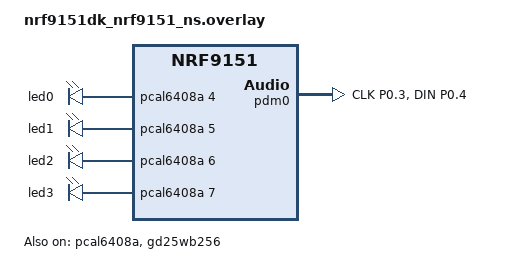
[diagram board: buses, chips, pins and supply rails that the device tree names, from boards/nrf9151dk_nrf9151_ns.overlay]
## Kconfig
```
# Copyright (c) 2024 EdgeImpulse Inc.
#
# Licensed under the Apache License, Version 2.0 (the "License");
# you may not use this file except in compliance with the License.
# You may obtain a copy of the License at
# http://www.apache.org/licenses/LICENSE-2.0
#
# Unless required by applicable law or agreed to in writing,
# software distributed under the License is distributed on an "AS
# IS" BASIS, WITHOUT WARRANTIES OR CONDITIONS OF ANY KIND, either
# express or implied. See the License for the specific language
# governing permissions and limitations under the License.
#
# SPDX-License-Identifier: Apache-2.0

config REMOTE_INGESTION
    bool "Enable remote ingestion"
    default n
    help
      Enable remote ingestion of data to Edge Impulse. This will send data to
      Edge Impulse over a LTE connection. If you disable this, you can still
      use the serial connection and Edge Impulse Serial Daemon to send data.

if REMOTE_INGESTION

module = REMOTE_INGESTION
module-str = Remote Ingestion
source "subsys/logging/Kconfig.template.log_config"

endif

module = EI
module-str = Edge Impulse Firmware
source "subsys/logging/Kconfig.template.log_config"

menu "Zephyr Kernel"
source "Kconfig.zephyr"
endmenu
```

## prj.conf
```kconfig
# /* The Clear BSD License
#  *
#  * Copyright (c) 2025 EdgeImpulse Inc.
#  * All rights reserved.
#  *
#  * Redistribution and use in source and binary forms, with or without
#  * modification, are permitted (subject to the limitations in the disclaimer
#  * below) provided that the following conditions are met:
#  *
#  *   * Redistributions of source code must retain the above copyright notice,
#  *   this list of conditions and the following disclaimer.
#  *
#  *   * Redistributions in binary form must reproduce the above copyright
#  *   notice, this list of conditions and the following disclaimer in the
#  *   documentation and/or other materials provided with the distribution.
#  *
#  *   * Neither the name of the copyright holder nor the names of its
#  *   contributors may be used to endorse or promote products derived from this
#  *   software without specific prior written permission.
#  *
#  * NO EXPRESS OR IMPLIED LICENSES TO ANY PARTY'S PATENT RIGHTS ARE GRANTED BY
#  * THIS LICENSE. THIS SOFTWARE IS PROVIDED BY THE COPYRIGHT HOLDERS AND
#  * CONTRIBUTORS "AS IS" AND ANY EXPRESS OR IMPLIED WARRANTIES, INCLUDING, BUT NOT
#  * LIMITED TO, THE IMPLIED WARRANTIES OF MERCHANTABILITY AND FITNESS FOR A
#  * PARTICULAR PURPOSE ARE DISCLAIMED. IN NO EVENT SHALL THE COPYRIGHT HOLDER OR
#  * CONTRIBUTORS BE LIABLE FOR ANY DIRECT, INDIRECT, INCIDENTAL, SPECIAL,
#  * EXEMPLARY, OR CONSEQUENTIAL DAMAGES (INCLUDING, BUT NOT LIMITED TO,
#  * PROCUREMENT OF SUBSTITUTE GOODS OR SERVICES; LOSS OF USE, DATA, OR PROFITS; OR
#  * BUSINESS INTERRUPTION) HOWEVER CAUSED AND ON ANY THEORY OF LIABILITY, WHETHER
#  * IN CONTRACT, STRICT LIABILITY, OR TORT (INCLUDING NEGLIGENCE OR OTHERWISE)
#  * ARISING IN ANY WAY OUT OF THE USE OF THIS SOFTWARE, EVEN IF ADVISED OF THE
#  * POSSIBILITY OF SUCH DAMAGE.
#  */

# General config
CONFIG_NEWLIB_LIBC=y
CONFIG_NEWLIB_LIBC_NANO=y
CONFIG_NEWLIB_LIBC_FLOAT_PRINTF=y
CONFIG_ASSERT=y
CONFIG_REBOOT=y
CONFIG_FPU=y
CONFIG_CPP=y
CONFIG_GLIBCXX_LIBCPP=y
CONFIG_BOOT_BANNER=n

# Heap and stacks
CONFIG_HEAP_MEM_POOL_SIZE=47250
CONFIG_MAIN_STACK_SIZE=16384
CONFIG_SYSTEM_WORKQUEUE_STACK_SIZE=4096
CONFIG_HW_STACK_PROTECTION=y

# Logging
CONFIG_LOG=y
CONFIG_LOG_MODE_DEFERRED=y
CONFIG_I2S_LOG_LEVEL_OFF=y
CONFIG_CBPRINTF_PACKAGE_LOG_LEVEL_OFF=y
CONFIG_FLASH_LOG_LEVEL_OFF=y
CONFIG_SENSOR_LOG_LEVEL_OFF=y
CONFIG_AUDIO_DMIC_LOG_LEVEL_WRN=y
CONFIG_AUDIO_DMIC_LOG_LEVEL_DBG=n
CONFIG_NCS_BOOT_BANNER=n

# nRF modem library
CONFIG_NRF_MODEM_LIB=y
CONFIG_NRF_MODEM_LIB_ON_FAULT_APPLICATION_SPECIFIC=y

# Modem info
CONFIG_MODEM_INFO=y

# Flash - Used in FOTA, settings and storage for P-GPS.
CONFIG_FLASH=y
CONFIG_FLASH_PAGE_LAYOUT=y
CONFIG_FLASH_MAP=y
CONFIG_STREAM_FLASH=y
CONFIG_MPU_ALLOW_FLASH_WRITE=y
CONFIG_SPI_NOR_FLASH_LAYOUT_PAGE_SIZE=4096

# LEDs
CONFIG_LED=y
CONFIG_GPIO=y
CONFIG_LED_GPIO=y

# Audio/PDM support
CONFIG_I2S=y
CONFIG_AUDIO=y
CONFIG_AUDIO_DMIC=y

# Sensors on X-Nucleo IKS02A1
CONFIG_I2C=y
CONFIG_SENSOR=y

# UART Config
CONFIG_UART_INTERRUPT_DRIVEN=y

CONFIG_DEBUG=y
```

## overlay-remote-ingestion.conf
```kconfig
# Copyright (c) 2024 EdgeImpulse Inc.
#
# Licensed under the Apache License, Version 2.0 (the "License");
# you may not use this file except in compliance with the License.
# You may obtain a copy of the License at
# http://www.apache.org/licenses/LICENSE-2.0
#
# Unless required by applicable law or agreed to in writing,
# software distributed under the License is distributed on an "AS
# IS" BASIS, WITHOUT WARRANTIES OR CONDITIONS OF ANY KIND, either
# express or implied. See the License for the specific language
# governing permissions and limitations under the License.
#
# SPDX-License-Identifier: Apache-2.0

# Edge Impulse Remote Ingestion
CONFIG_REMOTE_INGESTION=y
CONFIG_REMOTE_INGESTION_LOG_LEVEL_WRN=y

# nRF modem library
CONFIG_NRF_MODEM_LIB_SHMEM_TX_SIZE=22528
CONFIG_NRF_MODEM_LIB_SHMEM_RX_SIZE=8192

# LTE link control
CONFIG_LTE_NETWORK_MODE_LTE_M_GPS=y
## Power saving timers.
### 320 hours PSM.
CONFIG_LTE_PSM_REQ=y
CONFIG_LTE_PSM_REQ_RPTAU="11000001"
### 20 seconds active time.
CONFIG_LTE_PSM_REQ_RAT="00001010"
CONFIG_LTE_LINK_CONTROL=y
CONFIG_LTE_MODE_PREFERENCE_AUTO=y
CONFIG_LTE_NETWORK_USE_FALLBACK=n
CONFIG_LTE_NETWORK_TIMEOUT=30

# PDN library
CONFIG_PDN=y
CONFIG_PDN_ESM_STRERROR=y

# TLS configuration
CONFIG_MBEDTLS_SHA1_C=y

# Networking config
CONFIG_NETWORKING=y
CONFIG_NET_IPV4=y
CONFIG_NET_IPV6=n
CONFIG_NET_TCP=y
CONFIG_NET_SOCKETS=y
CONFIG_NET_SOCKETS_POLL_MAX=4

# HTTP & Websocket
CONFIG_HTTP_CLIENT=y
CONFIG_WEBSOCKET_CLIENT=y
```

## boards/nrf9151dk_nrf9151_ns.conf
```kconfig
# Copyright (c) 2024 EdgeImpulse Inc.
#
# Licensed under the Apache License, Version 2.0 (the "License");
# you may not use this file except in compliance with the License.
# You may obtain a copy of the License at
# http://www.apache.org/licenses/LICENSE-2.0
#
# Unless required by applicable law or agreed to in writing,
# software distributed under the License is distributed on an "AS
# IS" BASIS, WITHOUT WARRANTIES OR CONDITIONS OF ANY KIND, either
# express or implied. See the License for the specific language
# governing permissions and limitations under the License.
#
# SPDX-License-Identifier: Apache-2.0

# This file is merged with prj.conf in the application folder, and options
# set here will take precedence if they are present in both files.

CONFIG_GPIO=y
CONFIG_LED_GPIO=y

CONFIG_SPI=y
CONFIG_SPI_NOR=y
CONFIG_SPI_NOR_SFDP_DEVICETREE=y
CONFIG_PM_OVERRIDE_EXTERNAL_DRIVER_CHECK=y
```

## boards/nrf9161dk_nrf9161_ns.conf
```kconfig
# /* The Clear BSD License
#  *
#  * Copyright (c) 2025 EdgeImpulse Inc.
#  * All rights reserved.
#  *
#  * Redistribution and use in source and binary forms, with or without
#  * modification, are permitted (subject to the limitations in the disclaimer
#  * below) provided that the following conditions are met:
#  *
#  *   * Redistributions of source code must retain the above copyright notice,
#  *   this list of conditions and the following disclaimer.
#  *
#  *   * Redistributions in binary form must reproduce the above copyright
#  *   notice, this list of conditions and the following disclaimer in the
#  *   documentation and/or other materials provided with the distribution.
#  *
#  *   * Neither the name of the copyright holder nor the names of its
#  *   contributors may be used to endorse or promote products derived from this
#  *   software without specific prior written permission.
#  *
#  * NO EXPRESS OR IMPLIED LICENSES TO ANY PARTY'S PATENT RIGHTS ARE GRANTED BY
#  * THIS LICENSE. THIS SOFTWARE IS PROVIDED BY THE COPYRIGHT HOLDERS AND
#  * CONTRIBUTORS "AS IS" AND ANY EXPRESS OR IMPLIED WARRANTIES, INCLUDING, BUT NOT
#  * LIMITED TO, THE IMPLIED WARRANTIES OF MERCHANTABILITY AND FITNESS FOR A
#  * PARTICULAR PURPOSE ARE DISCLAIMED. IN NO EVENT SHALL THE COPYRIGHT HOLDER OR
#  * CONTRIBUTORS BE LIABLE FOR ANY DIRECT, INDIRECT, INCIDENTAL, SPECIAL,
#  * EXEMPLARY, OR CONSEQUENTIAL DAMAGES (INCLUDING, BUT NOT LIMITED TO,
#  * PROCUREMENT OF SUBSTITUTE GOODS OR SERVICES; LOSS OF USE, DATA, OR PROFITS; OR
#  * BUSINESS INTERRUPTION) HOWEVER CAUSED AND ON ANY THEORY OF LIABILITY, WHETHER
#  * IN CONTRACT, STRICT LIABILITY, OR TORT (INCLUDING NEGLIGENCE OR OTHERWISE)
#  * ARISING IN ANY WAY OUT OF THE USE OF THIS SOFTWARE, EVEN IF ADVISED OF THE
#  * POSSIBILITY OF SUCH DAMAGE.
#  */

CONFIG_GPIO=y
CONFIG_LED_GPIO=y

CONFIG_SPI=y
CONFIG_SPI_NOR=y
CONFIG_SPI_NOR_SFDP_DEVICETREE=y
CONFIG_PM_OVERRIDE_EXTERNAL_DRIVER_CHECK=y
```

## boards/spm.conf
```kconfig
# Copyright (c) 2024 EdgeImpulse Inc.
#
# Licensed under the Apache License, Version 2.0 (the "License");
# you may not use this file except in compliance with the License.
# You may obtain a copy of the License at
# http://www.apache.org/licenses/LICENSE-2.0
#
# Unless required by applicable law or agreed to in writing,
# software distributed under the License is distributed on an "AS
# IS" BASIS, WITHOUT WARRANTIES OR CONDITIONS OF ANY KIND, either
# express or implied. See the License for the specific language
# governing permissions and limitations under the License.
#
# SPDX-License-Identifier: Apache-2.0

CONFIG_IS_SPM=y

# Make watchdog timers non-secure (so they can be used in the non-secure image).
CONFIG_NRFX_PDM=y
```

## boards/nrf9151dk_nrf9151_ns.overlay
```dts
/* The Clear BSD License
 *
 * Copyright (c) 2025 EdgeImpulse Inc.
 * All rights reserved.
 *
 * Redistribution and use in source and binary forms, with or without
 * modification, are permitted (subject to the limitations in the disclaimer
 * below) provided that the following conditions are met:
 *
 *   * Redistributions of source code must retain the above copyright notice,
 *   this list of conditions and the following disclaimer.
 *
 *   * Redistributions in binary form must reproduce the above copyright
 *   notice, this list of conditions and the following disclaimer in the
 *   documentation and/or other materials provided with the distribution.
 *
 *   * Neither the name of the copyright holder nor the names of its
 *   contributors may be used to endorse or promote products derived from this
 *   software without specific prior written permission.
 *
 * NO EXPRESS OR IMPLIED LICENSES TO ANY PARTY'S PATENT RIGHTS ARE GRANTED BY
 * THIS LICENSE. THIS SOFTWARE IS PROVIDED BY THE COPYRIGHT HOLDERS AND
 * CONTRIBUTORS "AS IS" AND ANY EXPRESS OR IMPLIED WARRANTIES, INCLUDING, BUT NOT
 * LIMITED TO, THE IMPLIED WARRANTIES OF MERCHANTABILITY AND FITNESS FOR A
 * PARTICULAR PURPOSE ARE DISCLAIMED. IN NO EVENT SHALL THE COPYRIGHT HOLDER OR
 * CONTRIBUTORS BE LIABLE FOR ANY DIRECT, INDIRECT, INCIDENTAL, SPECIAL,
 * EXEMPLARY, OR CONSEQUENTIAL DAMAGES (INCLUDING, BUT NOT LIMITED TO,
 * PROCUREMENT OF SUBSTITUTE GOODS OR SERVICES; LOSS OF USE, DATA, OR PROFITS; OR
 * BUSINESS INTERRUPTION) HOWEVER CAUSED AND ON ANY THEORY OF LIABILITY, WHETHER
 * IN CONTRACT, STRICT LIABILITY, OR TORT (INCLUDING NEGLIGENCE OR OTHERWISE)
 * ARISING IN ANY WAY OUT OF THE USE OF THIS SOFTWARE, EVEN IF ADVISED OF THE
 * POSSIBILITY OF SUCH DAMAGE.
 */

/ {

	/* Configure partition manager to use gd25wb256 as the external flash */
	chosen {
		nordic,pm-ext-flash = &gd25wb256;
	};

	aliases {
		ext-flash = &gd25wb256;
	};
};

&pcal6408a {
	status = "okay";
};

&led0 {
	gpios = <&pcal6408a 4 GPIO_ACTIVE_HIGH>;
};

&led1 {
	gpios = <&pcal6408a 5 GPIO_ACTIVE_HIGH>;
};

&led2 {
	gpios = <&pcal6408a 6 GPIO_ACTIVE_HIGH>;
};

&led3 {
	gpios = <&pcal6408a 7 GPIO_ACTIVE_HIGH>;
};

&gd25wb256 {
	status = "okay";
};

&pinctrl {
	pdm0_default: pdm0_default {
		group1 {
			psels = <NRF_PSEL(PDM_CLK, 0, 3)>,
					<NRF_PSEL(PDM_DIN, 0, 4)>;
		};
	};
};

dmic_dev: &pdm0 {
	status = "okay";
	pinctrl-0 = <&pdm0_default>;
	pinctrl-names = "default";
};
```

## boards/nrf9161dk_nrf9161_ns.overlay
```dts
/*
 * Copyright (c) 2022 EdgeImpulse Inc.
 *
 * Licensed under the Apache License, Version 2.0 (the "License");
 * you may not use this file except in compliance with the License.
 * You may obtain a copy of the License at
 * http://www.apache.org/licenses/LICENSE-2.0
 *
 * Unless required by applicable law or agreed to in writing,
 * software distributed under the License is distributed on an "AS
 * IS" BASIS, WITHOUT WARRANTIES OR CONDITIONS OF ANY KIND, either
 * express or implied. See the License for the specific language
 * governing permissions and limitations under the License.
 *
 * SPDX-License-Identifier: Apache-2.0
 */

/ {

	/* Configure partition manager to use gd25wb256 as the external flash */
	chosen {
		nordic,pm-ext-flash = &gd25wb256;
	};

	aliases {
		ext-flash = &gd25wb256;
	};
};

&pcal6408a {
	status = "okay";
};

&led0 {
	gpios = <&pcal6408a 4 GPIO_ACTIVE_HIGH>;
};

&led1 {
	gpios = <&pcal6408a 5 GPIO_ACTIVE_HIGH>;
};

&led2 {
	gpios = <&pcal6408a 6 GPIO_ACTIVE_HIGH>;
};

&led3 {
	gpios = <&pcal6408a 7 GPIO_ACTIVE_HIGH>;
};

&gd25wb256 {
	status = "okay";
};

&pinctrl {
	pdm0_default: pdm0_default {
		group1 {
			psels = <NRF_PSEL(PDM_CLK, 0, 3)>,
					<NRF_PSEL(PDM_DIN, 0, 4)>;
		};
	};
};

dmic_dev: &pdm0 {
	status = "okay";
	pinctrl-0 = <&pdm0_default>;
	pinctrl-names = "default";
};
```

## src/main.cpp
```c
/* The Clear BSD License
 *
 * Copyright (c) 2025 EdgeImpulse Inc.
 * All rights reserved.
 *
 * Redistribution and use in source and binary forms, with or without
 * modification, are permitted (subject to the limitations in the disclaimer
 * below) provided that the following conditions are met:
 *
 *   * Redistributions of source code must retain the above copyright notice,
 *   this list of conditions and the following disclaimer.
 *
 *   * Redistributions in binary form must reproduce the above copyright
 *   notice, this list of conditions and the following disclaimer in the
 *   documentation and/or other materials provided with the distribution.
 *
 *   * Neither the name of the copyright holder nor the names of its
 *   contributors may be used to endorse or promote products derived from this
 *   software without specific prior written permission.
 *
 * NO EXPRESS OR IMPLIED LICENSES TO ANY PARTY'S PATENT RIGHTS ARE GRANTED BY
 * THIS LICENSE. THIS SOFTWARE IS PROVIDED BY THE COPYRIGHT HOLDERS AND
 * CONTRIBUTORS "AS IS" AND ANY EXPRESS OR IMPLIED WARRANTIES, INCLUDING, BUT NOT
 * LIMITED TO, THE IMPLIED WARRANTIES OF MERCHANTABILITY AND FITNESS FOR A
 * PARTICULAR PURPOSE ARE DISCLAIMED. IN NO EVENT SHALL THE COPYRIGHT HOLDER OR
 * CONTRIBUTORS BE LIABLE FOR ANY DIRECT, INDIRECT, INCIDENTAL, SPECIAL,
 * EXEMPLARY, OR CONSEQUENTIAL DAMAGES (INCLUDING, BUT NOT LIMITED TO,
 * PROCUREMENT OF SUBSTITUTE GOODS OR SERVICES; LOSS OF USE, DATA, OR PROFITS; OR
 * BUSINESS INTERRUPTION) HOWEVER CAUSED AND ON ANY THEORY OF LIABILITY, WHETHER
 * IN CONTRACT, STRICT LIABILITY, OR TORT (INCLUDING NEGLIGENCE OR OTHERWISE)
 * ARISING IN ANY WAY OUT OF THE USE OF THIS SOFTWARE, EVEN IF ADVISED OF THE
 * POSSIBILITY OF SUCH DAMAGE.
 */

#include <zephyr/logging/log.h>
LOG_MODULE_REGISTER(main, CONFIG_EI_LOG_LEVEL);

#include <zephyr/kernel.h>
#include <modem/nrf_modem_lib.h>
#include <zephyr/drivers/uart.h>
#include <modem/lte_lc.h>
#include <modem/pdn.h>
#include "edge-impulse-sdk/porting/ei_classifier_porting.h"
#include "ei_device_nrf91.h"
#include "ei_at_handlers.h"
#include "ei_ws_client.h"
#include "inference/ei_run_impulse.h"
#include "sensors/ei_accelerometer.h"
#include "sensors/ei_inertial.h"
#include "sensors/ei_magnetometer.h"
#include "sensors/ei_microphone.h"

const struct device *uart;

void ei_putchar(char c)
{
    // it is ~30% faster than printf
    uart_poll_out(uart, c);
}

void nrf_modem_fault_handler(struct nrf_modem_fault_info *fault_info)
{
	LOG_ERR("Modem error: 0x%x, PC: 0x%x", fault_info->reason, fault_info->program_counter);
}

#ifdef CONFIG_REMOTE_INGESTION
void pdn_event_handler(uint8_t cid, enum pdn_event event, int reason)
{
	switch (event) {
	case PDN_EVENT_CNEC_ESM:
		LOG_DBG("PDP context %d error, %s", cid, pdn_esm_strerror(reason));
		break;
	case PDN_EVENT_ACTIVATED:
		LOG_DBG("PDP context %d activated", cid);
		break;
	case PDN_EVENT_DEACTIVATED:
		LOG_DBG("PDP context %d deactivated", cid);
		break;
	case PDN_EVENT_NETWORK_DETACH:
		LOG_DBG("PDP context %d network detached", cid);
		break;
	case PDN_EVENT_IPV6_UP:
		LOG_DBG("PDP context %d IPv6 up", cid);
		break;
	case PDN_EVENT_IPV6_DOWN:
		LOG_DBG("PDP context %d IPv6 down", cid);
		break;
	default:
		LOG_DBG("PDP context %d, unknown event %d", cid, event);
		break;
	}
}

bool modem_connect(void)
{
	int ret;

	LOG_DBG("Modem Lib init...");
	ret = nrf_modem_lib_init();
	if (ret < 0) {
		LOG_ERR("Unable to init modem library (%d)", ret);
		return false;
	}
	LOG_DBG("Modem Lib init... OK");

	/* Setup a callback for the default PDP context (zero).
	 * Do this before switching to function mode 1 (CFUN=1)
	 * to receive the first activation event.
	 */
	LOG_DBG("PDN context init...");
	ret = pdn_default_ctx_cb_reg(pdn_event_handler);
	if (ret) {
		LOG_ERR("pdn_default_ctx_cb_reg() failed, err %d", ret);
		return false;
	}
	LOG_DBG("PDN context init... OK");

	LOG_DBG("Waiting for network...");
	ret = lte_lc_init_and_connect();
	if (ret) {
		LOG_ERR("Failed to connect to the LTE network, err %d", ret);
		return false;
	}
	LOG_DBG("Waiting for network... OK");

	return true;
}
#endif

int main(void)
{
    char rcv_char;
    ATServer *at;

    /* This is needed so that output of printf
       is output immediately without buffering
    */
    setvbuf(stdout, NULL, _IONBF, 0);

    uart = DEVICE_DT_GET(DT_CHOSEN(zephyr_shell_uart));
    if (!device_is_ready(uart)) {
		LOG_ERR("%s: device not ready\n", uart->name);
	}

    EiDeviceNRF91* dev = static_cast<EiDeviceNRF91*>(EiDeviceInfo::get_device());

#ifdef CONFIG_REMOTE_INGESTION
	if(!modem_connect()) {
		LOG_ERR("Modem connection failed!");
	}
	else {
    	ei_ws_client_start(dev, at_sample_start);
	}
#else
	// we need modem library to get IMEI and obtain unique device ID
	int ret = nrf_modem_lib_init();
	if (ret < 0) {
		LOG_ERR("Unable to init modem library (%d)", ret);
	}
#endif

	// based on accelerometer presence we can see if the shield is present,
	// and know if the microphone is present since it cannot be detected by the driver SDK
    dev->set_microphone_present(ei_accelerometer_init());
    ei_inertial_init();
    ei_magnetometer_init();
    ei_microphone_init();
	dev->set_sensor_list(EiDeviceInfo::get_device()->get_memory());

    dev->set_state(eiStateFinished);

    // Init AT Server and print initial prompt
    at = ei_at_init(dev);
    ei_printf("Type AT+HELP to see a list of commands.\r\n");
    at->print_prompt();

    while(true) {
        while(uart_fifo_read(uart, (uint8_t*)&rcv_char, 1) == 1) {
            if(is_inference_running() && rcv_char == 'b') {
                ei_stop_impulse();
                at->print_prompt();
                continue;
            }
            at->handle(rcv_char);
        }
        if(is_inference_running() == true) {
            ei_run_impulse();
        }
        k_sleep(K_USEC(100));
    }

    return 0;
}
```

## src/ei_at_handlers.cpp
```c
/*
 * Copyright (c) 2024 EdgeImpulse Inc.
 *
 * Licensed under the Apache License, Version 2.0 (the "License");
 * you may not use this file except in compliance with the License.
 * You may obtain a copy of the License at
 * http://www.apache.org/licenses/LICENSE-2.0
 *
 * Unless required by applicable law or agreed to in writing,
 * software distributed under the License is distributed on an "AS
 * IS" BASIS, WITHOUT WARRANTIES OR CONDITIONS OF ANY KIND, either
 * express or implied. See the License for the specific language
 * governing permissions and limitations under the License.
 *
 * SPDX-License-Identifier: Apache-2.0
 */

#include "ei_at_handlers.h"
#include "ei_device_nrf91.h"
#include "ei_ws_client.h"
#include "edge-impulse-sdk/porting/ei_classifier_porting.h"
#include "firmware-sdk/ei_fusion.h"
#include "firmware-sdk/at-server/ei_at_command_set.h"
#include "firmware-sdk/at_base64_lib.h"
#include "firmware-sdk/ei_device_lib.h"
#include "firmware-sdk/ei_device_interface.h"
#include "inference/ei_run_impulse.h"
#include "model-parameters/model_metadata.h"
#include <string>
using namespace std;

#define TRANSFER_BUF_LEN 32

// Helper functions

void at_error_not_implemented()
{
    ei_printf("Command not implemented\r\n");
}

inline bool check_args_num(const int &required, const int &received)
{
    if (received < required) {
        ei_printf("Too few arguments! Required: %d\n", required);
        return false;
    }

    return true;
}

EiDeviceNRF91 *dev;

bool at_get_device_id(void)
{
    ei_printf("%s\n", dev->get_device_id().c_str());

    return true;
}

bool at_set_device_id(const char **argv, const int argc)
{
    if(argc < 1) {
        ei_printf("Missing argument!\n");
        return true;
    }

    dev->set_device_id(argv[0]);

    ei_printf("OK\n");

    return true;
}

bool at_get_upload_host(void)
{
    ei_printf("%s\n", dev->get_upload_host().c_str());

    return true;
}

bool at_set_upload_host(const char **argv, const int argc)
{
    if(argc < 1) {
        ei_printf("Missing argument!\n");
        return true;
    }

    dev->set_upload_host(argv[0]);

    ei_printf("OK\n");

    return true;
}

bool at_get_upload_settings(void)
{
    ei_printf("Api Key:   %s\n", dev->get_upload_api_key().c_str());
    ei_printf("Host:      %s\n", dev->get_upload_host().c_str());
    ei_printf("Path:      %s\n", dev->get_upload_path().c_str());

    return true;
}

bool at_set_upload_settings(const char **argv, const int argc)
{
    if(argc < 2) {
        ei_printf("Missing argument! Required: " AT_UPLOADSETTINGS_ARGS "\n");
        return true;
    }

    //TODO: can we set these values to ""?
    dev->set_upload_api_key(argv[0]);
    dev->set_upload_path(argv[1]);

    ei_printf("OK\n");

    return true;
}

bool at_get_mgmt_url(void)
{
    ei_printf("%s\n", dev->get_management_url().c_str());

    return true;
}

bool at_set_mgmt_url(const char **argv, const int argc)
{
    if(argc < 1) {
        ei_printf("Missing argument!\n");
        return true;
    }

    dev->set_management_url(argv[0]);

    ei_printf("OK\n");

    return true;
}

bool at_get_sample_settings(void)
{
    ei_printf("Label:     %s\n", dev->get_sample_label().c_str());
    ei_printf("Interval:  %.2f ms.\n", dev->get_sample_interval_ms());
    ei_printf("Length:    %u ms.\n", dev->get_sample_length_ms());
    ei_printf("HMAC key:  %s\n", dev->get_sample_hmac_key().c_str());

    return true;
}

bool at_set_sample_settings(const char **argv, const int argc)
{
    if(argc < 3) {
        ei_printf("Missing argument! Required: " AT_SAMPLESETTINGS_ARGS "\n");
        return true;
    }

    dev->set_sample_label(argv[0]);

    //TODO: sanity check and/or exception handling
    string interval_ms_str(argv[1]);
    dev->set_sample_interval_ms(stof(interval_ms_str));

    //TODO: sanity check and/or exception handling
    string sample_length_str(argv[2]);
    dev->set_sample_length_ms(stoi(sample_length_str));

    if(argc >= 4) {
        dev->set_sample_hmac_key(argv[3]);
    }

    ei_printf("OK\n");

    return true;
}

bool at_clear_config(void)
{
    dev->clear_config();
    dev->init_device_id();

    return true;
}

bool at_unlink_file(const char **argv, const int argc)
{
    ei_printf("\n");

    return true;
}

bool at_read_buffer(const char **argv, const int argc)
{
    if(argc < 2) {
        ei_printf("Missing argument! Required: " AT_READBUFFER_ARGS "\n");
        return true;
    }
    bool success = true;

    size_t start = (size_t)atoi(argv[0]);
    size_t length = (size_t)atoi(argv[1]);

    dev->set_state(eiStateUploading);

    bool use_max_baudrate = false;
    if (argc >= 3 && argv[2][0] == 'y') {
       use_max_baudrate = true;
    }

    if (use_max_baudrate) {
        ei_printf("OK\r\n");
        dev->set_max_data_output_baudrate();
        ei_sleep(100);
    }

    success = read_encode_send_sample_buffer(start, length);

    if (use_max_baudrate) {
        ei_printf("\r\nOK\r\n");
        ei_sleep(100);
        dev->set_default_data_output_baudrate();
    }

    if (!success) {
        ei_printf("ERR: Failed to read from buffer\n");
        dev->set_state(eiStateIdle);
    }
    else {
        ei_printf("\n");
        dev->set_state(eiStateFinished);
    }

    return true;
}

bool at_sample_start(const char **argv, const int argc)
{
    if(argc < 1) {
        ei_printf("Missing sensor name!\n");
        return true;
    }

    const ei_device_sensor_t *sensor_list;
    size_t sensor_list_size;

    dev->get_sensor_list((const ei_device_sensor_t **)&sensor_list, &sensor_list_size);

    for (size_t ix = 0; ix < sensor_list_size; ix++) {
        if (strcmp(sensor_list[ix].name, argv[0]) == 0) {
            if (!sensor_list[ix].start_sampling_cb()) {
                ei_printf("ERR: Failed to start sampling\n");
                dev->set_state(eiStateIdle);
            }
            else {
                dev->set_state(eiStateFinished);
            }
            return true;
        }
    }

    if (ei_connect_fusion_list(argv[0], SENSOR_FORMAT)) {
        if (!ei_fusion_setup_data_sampling()) {
            ei_printf("ERR: Failed to start sensor fusion sampling\n");
            dev->set_state(eiStateIdle);
        }
        else {
            dev->set_state(eiStateFinished);
        }
    }
    else {
        ei_printf("ERR: Failed to find sensor '%s' in the sensor list\n", argv[0]);
    }


    return true;
}

bool at_run_impulse(void)
{
    ei_start_impulse(false, false, false);

    return false;
}

bool at_run_impulse_debug(const char **argv, const int argc)
{
    bool use_max_uart_speed = false;
    if(argc > 0 && argv[0][0] == 'y') {
        use_max_uart_speed = true;
    }

    ei_start_impulse(false, true, use_max_uart_speed);

    return false;
}

bool at_run_impulse_cont(void)
{
    ei_start_impulse(true, false, false);

    return false;
}

bool at_run_impulse_static_data(const char **argv, const int argc)
{

    if (check_args_num(2, argc) == false) {
        return false;
    }

    bool debug = (argv[0][0] == 'y');
    size_t length = (size_t)atoi(argv[1]);

    bool res = run_impulse_static_data(debug, length, TRANSFER_BUF_LEN);

    return res;
}

bool at_stop_impulse(void)
{
    ei_stop_impulse();

    return true;
}

bool at_get_config(void)
{
    const ei_device_sensor_t *sensor_list;
    size_t sensor_list_size;

    dev->get_sensor_list((const ei_device_sensor_t **)&sensor_list, &sensor_list_size);

    ei_printf("===== Device info =====\n");
    ei_printf("ID:         %s\n", dev->get_device_id().c_str());
    ei_printf("Type:       %s\n", dev->get_device_type().c_str());
    ei_printf("AT Version: " AT_COMMAND_VERSION "\n");
    ei_printf("Data Transfer Baudrate: %u\n", dev->get_data_output_baudrate());
    ei_printf("\n");
    ei_printf("===== Sensors ======\n");
    //TODO: move it to Sensor Manager
    for (size_t ix = 0; ix < sensor_list_size; ix++) {
        ei_printf("Name: %s, Max sample length: %hus, Frequencies: [", sensor_list[ix].name, sensor_list[ix].max_sample_length_s);
        for (size_t fx = 0; fx < EI_MAX_FREQUENCIES; fx++) {
            if (sensor_list[ix].frequencies[fx] != 0.0f) {
                if (fx != 0) {
                    ei_printf(", ");
                }
                ei_printf("%.2fHz", sensor_list[ix].frequencies[fx]);
            }
        }
        ei_printf("]\n");
    }
    ei_built_sensor_fusion_list();
    ei_printf("\n");
    ei_printf("===== Snapshot ======\n");
    // at_get_snapshot();
    ei_printf("\n");
    ei_printf("===== Inference ======\n");
    ei_printf("Sensor:           %d\r\n", EI_CLASSIFIER_SENSOR);
#if EI_CLASSIFIER_OBJECT_DETECTION
    #if EI_CLASSIFIER_OBJECT_DETECTION_LAST_LAYER == EI_CLASSIFIER_LAST_LAYER_FOMO
        const char *model_type = "constrained_object_detection";
    #else
        const char *model_type = "object_detection";
    #endif
#else
    const char *model_type = "classification";
#endif
    ei_printf("Model type:       %s\r\n", model_type);
    ei_printf("\n");
    ei_printf("===== WIFI =====\n");
    ei_printf("SSID:      \n");
    ei_printf("Password:  \n");
    ei_printf("Security:  0\n");
    ei_printf("MAC:       %s\n", dev->get_mac_address().c_str());
    ei_printf("Connected: 0\n");
    ei_printf("Present:   0\n");
    ei_printf("\n");
    ei_printf("===== Sampling parameters =====\n");
    ei_printf("Label:     %s\n", dev->get_sample_label().c_str());
    ei_printf("Interval:  %.2f ms.\n", dev->get_sample_interval_ms());
    ei_printf("Length:    %u ms.\n", dev->get_sample_length_ms());
    ei_printf("HMAC key:  %s\n", dev->get_sample_hmac_key().c_str());
    ei_printf("\n");
    ei_printf("===== Upload settings =====\n");
    ei_printf("Api Key:   %s\n", dev->get_upload_api_key().c_str());
    ei_printf("Host:      %s\n", dev->get_upload_host().c_str());
    ei_printf("Path:      %s\n", dev->get_upload_path().c_str());
    ei_printf("\n");
    ei_printf("===== Remote management =====\n");
    ei_printf("URL:        %s\n", dev->get_management_url().c_str());
#ifdef CONFIG_REMOTE_INGESTION
    ei_printf("Connected:  %u\n", ei_ws_get_connection_status());
#else
    ei_printf("Connected:  0\n");
#endif
    ei_printf("Last error: \n");
    ei_printf("\n");

    return true;
}

ATServer *ei_at_init(EiDeviceNRF91 *device)
{
    ATServer *at;
    dev = device;

    at = ATServer::get_instance();

    at->register_command(AT_CONFIG, AT_CONFIG_HELP_TEXT, nullptr, at_get_config, nullptr, nullptr);
    at->register_command(AT_SAMPLESTART, AT_SAMPLESTART_HELP_TEXT, nullptr, nullptr, at_sample_start, AT_SAMPLESTART_ARGS);
    at->register_command(AT_READBUFFER, AT_READBUFFER_HELP_TEXT, nullptr, nullptr, at_read_buffer, AT_READBUFFER_ARGS);
    at->register_command(AT_MGMTSETTINGS, AT_MGMTSETTINGS_HELP_TEXT, nullptr, at_get_mgmt_url, at_set_mgmt_url, AT_MGMTSETTINGS_ARGS);
    at->register_command(AT_CLEARCONFIG, AT_CLEARCONFIG_HELP_TEXT, at_clear_config, nullptr, nullptr, nullptr);
    at->register_command(AT_DEVICEID, AT_DEVICEID_HELP_TEXT, nullptr, at_get_device_id, at_set_device_id, AT_DEVICEID_ARGS);
    at->register_command(AT_SAMPLESETTINGS, AT_SAMPLESETTINGS_HELP_TEXT, nullptr, at_get_sample_settings, at_set_sample_settings, AT_SAMPLESETTINGS_ARGS);
    at->register_command(AT_UPLOADSETTINGS, AT_UPLOADSETTINGS_HELP_TEXT, nullptr, at_get_upload_settings, at_set_upload_settings, AT_UPLOADSETTINGS_ARGS);
    at->register_command(AT_UPLOADHOST, AT_UPLOADHOST_HELP_TEXT, nullptr, at_get_upload_host, at_set_upload_host, AT_UPLOADHOST_ARGS);
    at->register_command(AT_UNLINKFILE, AT_UNLINKFILE_HELP_TEXT, nullptr, nullptr, at_unlink_file, AT_UNLINKFILE_ARGS);
    at->register_command(AT_RUNIMPULSE, AT_RUNIMPULSE_HELP_TEXT, at_run_impulse, nullptr, nullptr, nullptr);
    at->register_command(AT_RUNIMPULSEDEBUG, AT_RUNIMPULSEDEBUG_HELP_TEXT, nullptr, nullptr, at_run_impulse_debug, AT_RUNIMPULSEDEBUG_ARGS);
    at->register_command(AT_RUNIMPULSECONT, AT_RUNIMPULSECONT_HELP_TEXT, at_run_impulse_cont, nullptr, nullptr, nullptr);
    at->register_command(AT_RUNIMPULSESTATIC, AT_RUNIMPULSESTATIC_HELP_TEXT, nullptr, nullptr, at_run_impulse_static_data, AT_RUNIMPULSESTATIC_ARGS);
    at->register_command("STOPIMPULSE", "", at_stop_impulse, nullptr, nullptr, nullptr);

    return at;
}
```

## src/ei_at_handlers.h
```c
/*
 * Copyright (c) 2024 EdgeImpulse Inc.
 *
 * Licensed under the Apache License, Version 2.0 (the "License");
 * you may not use this file except in compliance with the License.
 * You may obtain a copy of the License at
 * http://www.apache.org/licenses/LICENSE-2.0
 *
 * Unless required by applicable law or agreed to in writing,
 * software distributed under the License is distributed on an "AS
 * IS" BASIS, WITHOUT WARRANTIES OR CONDITIONS OF ANY KIND, either
 * express or implied. See the License for the specific language
 * governing permissions and limitations under the License.
 *
 * SPDX-License-Identifier: Apache-2.0
 */

#ifndef EI_AT_HANDLERS_H
#define EI_AT_HANDLERS_H
#include "firmware-sdk/at-server/ei_at_server.h"
#include "ei_device_nrf91.h"

ATServer *ei_at_init(EiDeviceNRF91 *device);

// expose this handler, so EI WebSocket client can use the same handler to start sample acquisition
bool at_sample_start(const char **argv, const int argc);

#endif /* EI_AT_HANDLERS_H */
```

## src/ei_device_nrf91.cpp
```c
/* The Clear BSD License
 *
 * Copyright (c) 2025 EdgeImpulse Inc.
 * All rights reserved.
 *
 * Redistribution and use in source and binary forms, with or without
 * modification, are permitted (subject to the limitations in the disclaimer
 * below) provided that the following conditions are met:
 *
 *   * Redistributions of source code must retain the above copyright notice,
 *   this list of conditions and the following disclaimer.
 *
 *   * Redistributions in binary form must reproduce the above copyright
 *   notice, this list of conditions and the following disclaimer in the
 *   documentation and/or other materials provided with the distribution.
 *
 *   * Neither the name of the copyright holder nor the names of its
 *   contributors may be used to endorse or promote products derived from this
 *   software without specific prior written permission.
 *
 * NO EXPRESS OR IMPLIED LICENSES TO ANY PARTY'S PATENT RIGHTS ARE GRANTED BY
 * THIS LICENSE. THIS SOFTWARE IS PROVIDED BY THE COPYRIGHT HOLDERS AND
 * CONTRIBUTORS "AS IS" AND ANY EXPRESS OR IMPLIED WARRANTIES, INCLUDING, BUT NOT
 * LIMITED TO, THE IMPLIED WARRANTIES OF MERCHANTABILITY AND FITNESS FOR A
 * PARTICULAR PURPOSE ARE DISCLAIMED. IN NO EVENT SHALL THE COPYRIGHT HOLDER OR
 * CONTRIBUTORS BE LIABLE FOR ANY DIRECT, INDIRECT, INCIDENTAL, SPECIAL,
 * EXEMPLARY, OR CONSEQUENTIAL DAMAGES (INCLUDING, BUT NOT LIMITED TO,
 * PROCUREMENT OF SUBSTITUTE GOODS OR SERVICES; LOSS OF USE, DATA, OR PROFITS; OR
 * BUSINESS INTERRUPTION) HOWEVER CAUSED AND ON ANY THEORY OF LIABILITY, WHETHER
 * IN CONTRACT, STRICT LIABILITY, OR TORT (INCLUDING NEGLIGENCE OR OTHERWISE)
 * ARISING IN ANY WAY OUT OF THE USE OF THIS SOFTWARE, EVEN IF ADVISED OF THE
 * POSSIBILITY OF SUCH DAMAGE.
 */

#include <zephyr/logging/log.h>
LOG_MODULE_REGISTER(ei_device, CONFIG_EI_LOG_LEVEL);
#include <cstdlib>
#include <cstdio>
#include <cstdint>
#include <zephyr/kernel.h>
#include <modem/modem_info.h>
#include <zephyr/drivers/gpio.h>
#include "ei_device_nrf91.h"
#include "flash_memory.h"
#include "sensors/ei_microphone.h"
#include "edge-impulse-sdk/porting/ei_classifier_porting.h"

using namespace std;
static const struct gpio_dt_spec led0 = GPIO_DT_SPEC_GET(DT_ALIAS(led0), gpios);
static const struct gpio_dt_spec led1 = GPIO_DT_SPEC_GET(DT_ALIAS(led1), gpios);
static const struct gpio_dt_spec led2 = GPIO_DT_SPEC_GET(DT_ALIAS(led2), gpios);
static const struct gpio_dt_spec led3 = GPIO_DT_SPEC_GET(DT_ALIAS(led3), gpios);
static void led_timer_handler(struct k_timer *dummy);
static void led_work_handler(struct k_work *work);
static void sampler_timer_handler(struct k_timer *dummy);
static void sampler_work_handler(struct k_work *work);
static void set_all_leds(uint8_t state);
static bool microphone_present = false;

K_TIMER_DEFINE(led_timer, led_timer_handler, NULL);
K_WORK_DEFINE(led_work, led_work_handler);
K_TIMER_DEFINE(sampler_timer, sampler_timer_handler, NULL);
K_WORK_DEFINE(sampler_work, sampler_work_handler);

static void led_work_handler(struct k_work *work)
{
    EiDeviceNRF91 *dev = static_cast<EiDeviceNRF91*>(EiDeviceInfo::get_device());
    EiState state = dev->get_state();
    static uint8_t animation = 0;
    static uint8_t blink;

    switch(state)
    {
        case eiStateErasingFlash:
            gpio_pin_set_dt(&led0, blink++ % 2);
            break;
        case eiStateSampling:
            gpio_pin_set_dt(&led1, blink++ % 2);
            break;
        case eiStateUploading:
            gpio_pin_set_dt(&led2, blink++ % 2);
            break;
        case eiStateFinished:
            blink = 0;
            if(animation == 0) {
                animation = 0x88;
            }
            break;
        default:
            break;
    }

    if(animation == 0) {
        return;
    }

    set_all_leds(animation & 0x0f);
    animation >>= 1;

    if(!animation) {
        dev->set_state(eiStateIdle);
    }
}

static void led_timer_handler(struct k_timer *dummy)
{
    k_work_submit(&led_work);
}

static void sampler_timer_handler(struct k_timer *dummy)
{
    k_work_submit(&sampler_work);
}

static void sampler_work_handler(struct k_work *work)
{
    EiDeviceNRF91 *dev = static_cast<EiDeviceNRF91*>(EiDeviceInfo::get_device());

#if MULTI_FREQ_ENABLED == 1
    if (dev->get_fusioning() == 1){
        dev->sample_read_callback();
    }
    else {
        uint8_t flag = 0;
        uint8_t i = 0;
        dev->actual_timer += dev->get_sample_interval();

        for (i = 0; i < dev->get_fusioning(); i++){
            if (((uint32_t)(dev->actual_timer % (uint32_t)dev->multi_sample_interval.at(i))) == 0) {
                flag |= (1<<i);
            }
        }
        if (dev->sample_multi_read_callback != nullptr)
        {
            dev->sample_multi_read_callback(flag);

        }
    }
#else
    dev->sample_read_callback();
#endif
}

/*
    state encodes state of LEDs
    bit 0 -> LED0
    bit 1 -> LED1
    ...
 */
static void set_all_leds(uint8_t state)
{
    gpio_pin_set_dt(&led0, state & (1 << 0));
    gpio_pin_set_dt(&led1, state & (1 << 1));
    // LEDs 2 & 3 swap is intentional
    // otherwise we won't be able to see
    // spinning animation
    gpio_pin_set_dt(&led3, state & (1 << 2));
    gpio_pin_set_dt(&led2, state & (1 << 3));
}


EiDeviceNRF91::EiDeviceNRF91(EiDeviceMemory* mem)
{
    EiDeviceInfo::memory = mem;

    load_config();

    gpio_pin_configure_dt(&led0, GPIO_OUTPUT_ACTIVE);
    gpio_pin_configure_dt(&led1, GPIO_OUTPUT_ACTIVE);
    gpio_pin_configure_dt(&led2, GPIO_OUTPUT_ACTIVE);
    gpio_pin_configure_dt(&led3, GPIO_OUTPUT_ACTIVE);

    device_type = "NORDIC_NRF91";
}

EiDeviceNRF91::~EiDeviceNRF91()
{

}

string EiDeviceNRF91::get_mac_address(void)
{
    return mac_address;
}

void EiDeviceNRF91::init_device_id(void)
{
    char temp[18];
    char buf[32];

    /* Read IMEI from modem since ID registers are not accessible from non-secure */
    int err = modem_info_init();
    if(err == 0) {
        err = modem_info_string_get(MODEM_INFO_IMEI, buf, sizeof(buf));
        if(err > 0) {
            // prepare buffer (fill with ':' and end with null char)
            memset(temp, 0, 18);
            memset(temp, ':', 17);
            // copy last 12 digits of IMEI to MAC-like string
            for(int i=0; i<6; i++) {
                memcpy(&temp[i*3], &buf[3 + i*2], 2);
            }
            device_id = string(temp);
            mac_address = string(temp);
            return;
        }
        else {
            LOG_ERR("Failed to get IMEI (%d)", err);
        }
    }
    else {
        LOG_ERR("Failed to initialize modem info");
    }

    // fallback to zero only ID
    device_id = string("00:00:00:00:00:00");
    mac_address = string("00:00:00:00:00:00");

    save_config();
}

/**
 * @brief get_device is a static method of EiDeviceInfo class
 * It is used to implement singleton paradigm, so we are returning
 * here pointer always to the same object (dev)
 *
 * @return EiDeviceInfo*
 */
EiDeviceInfo* EiDeviceInfo::get_device(void)
{
    static EiFlashMemory memory(sizeof(EiConfig));
    static EiDeviceNRF91 dev(&memory);

    return &dev;
}

bool EiDeviceNRF91::start_sample_thread(void (*sample_read_cb)(void), float sample_interval_ms)
{
    this->sample_read_callback = sample_read_cb;

#if MULTI_FREQ_ENABLED == 1
    this->fusioning = 1;
#endif
    k_timer_start(&sampler_timer, K_MSEC(sample_interval_ms), K_MSEC(sample_interval_ms));

    return true;
}

#if MULTI_FREQ_ENABLED == 1
bool EiDeviceNRF91::start_multi_sample_thread(void (*sample_multi_read_cb)(uint8_t), float* multi_sample_interval_ms, uint8_t num_fusioned)
{
    uint8_t i;
    uint8_t flag = 0;

    this->sample_multi_read_callback = sample_multi_read_cb;
    this->fusioning = num_fusioned;
    this->multi_sample_interval.clear();

    for (i = 0; i < num_fusioned; i++){
        this->multi_sample_interval.push_back(1.f/multi_sample_interval_ms[i]*1000.f);
    }
    /* to improve, we consider just a 2 sensors case for now */
    this->sample_interval = ei_fusion_calc_multi_gcd(this->multi_sample_interval.data(), this->fusioning);

    /* force first reading */
    for (i = 0; i < this->fusioning; i++){
        flag |= (1<<i);
    }
    this->sample_multi_read_callback(flag);

    this->actual_timer = 0;

    k_timer_start(&sampler_timer, K_MSEC(sample_interval_ms), K_MSEC(sample_interval_ms));

    return true;
}
#endif

bool EiDeviceNRF91::stop_sample_thread(void)
{
    k_timer_stop(&sampler_timer);

    return true;
}

void EiDeviceNRF91::set_state(EiState state)
{
    this->state = state;

    set_all_leds(0x00);

    switch(state) {
        case eiStateErasingFlash:
        case eiStateSampling:
        case eiStateUploading:
        case eiStateFinished:
            k_timer_start(&led_timer, K_MSEC(250), K_MSEC(250));
            break;
        case eiStateIdle:
        default:
            k_timer_stop(&led_timer);
            set_all_leds(0x00);
            break;
    }
}

EiState EiDeviceNRF91::get_state(void)
{
    return this->state;
}

const std::string& EiDeviceNRF91::get_device_id(void)
{
    static bool initialized = false;

    if(!initialized) {
        init_device_id();
        initialized = true;
    }

    return device_id;
}

bool EiDeviceNRF91::get_sensor_list(const ei_device_sensor_t **sensor_list, size_t *sensor_list_size)
{
    *sensor_list = this->standalone_sensor_list;
    *sensor_list_size = this->standalone_sensor_num;

    return true;
}

bool EiDeviceNRF91::set_sensor_list(EiDeviceMemory* mem)
{
    EiDeviceInfo::memory = mem;

    if(microphone_present == false) {
        this->standalone_sensor_num = 0;
        return false;
    }
    standalone_sensor_list[0].name = "Microphone";
    standalone_sensor_list[0].frequencies[0] = 16000.0f;
    standalone_sensor_list[0].start_sampling_cb = &ei_microphone_sample_start;
    standalone_sensor_list[0].max_sample_length_s = mem->get_available_sample_bytes() / (16000 * sizeof(microphone_sample_t));
    this->standalone_sensor_num = 1;

    return true;
}

uint32_t EiDeviceNRF91::get_data_output_baudrate(void)
{
    return 115200;
}

void EiDeviceNRF91::set_microphone_present(bool present)
{
    microphone_present = present;
}
```

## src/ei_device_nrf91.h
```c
/* The Clear BSD License
 *
 * Copyright (c) 2025 EdgeImpulse Inc.
 * All rights reserved.
 *
 * Redistribution and use in source and binary forms, with or without
 * modification, are permitted (subject to the limitations in the disclaimer
 * below) provided that the following conditions are met:
 *
 *   * Redistributions of source code must retain the above copyright notice,
 *   this list of conditions and the following disclaimer.
 *
 *   * Redistributions in binary form must reproduce the above copyright
 *   notice, this list of conditions and the following disclaimer in the
 *   documentation and/or other materials provided with the distribution.
 *
 *   * Neither the name of the copyright holder nor the names of its
 *   contributors may be used to endorse or promote products derived from this
 *   software without specific prior written permission.
 *
 * NO EXPRESS OR IMPLIED LICENSES TO ANY PARTY'S PATENT RIGHTS ARE GRANTED BY
 * THIS LICENSE. THIS SOFTWARE IS PROVIDED BY THE COPYRIGHT HOLDERS AND
 * CONTRIBUTORS "AS IS" AND ANY EXPRESS OR IMPLIED WARRANTIES, INCLUDING, BUT NOT
 * LIMITED TO, THE IMPLIED WARRANTIES OF MERCHANTABILITY AND FITNESS FOR A
 * PARTICULAR PURPOSE ARE DISCLAIMED. IN NO EVENT SHALL THE COPYRIGHT HOLDER OR
 * CONTRIBUTORS BE LIABLE FOR ANY DIRECT, INDIRECT, INCIDENTAL, SPECIAL,
 * EXEMPLARY, OR CONSEQUENTIAL DAMAGES (INCLUDING, BUT NOT LIMITED TO,
 * PROCUREMENT OF SUBSTITUTE GOODS OR SERVICES; LOSS OF USE, DATA, OR PROFITS; OR
 * BUSINESS INTERRUPTION) HOWEVER CAUSED AND ON ANY THEORY OF LIABILITY, WHETHER
 * IN CONTRACT, STRICT LIABILITY, OR TORT (INCLUDING NEGLIGENCE OR OTHERWISE)
 * ARISING IN ANY WAY OUT OF THE USE OF THIS SOFTWARE, EVEN IF ADVISED OF THE
 * POSSIBILITY OF SUCH DAMAGE.
 */

#ifndef EI_DEVICE_NRF91_H
#define EI_DEVICE_NRF91_H

#include "firmware-sdk/ei_device_info_lib.h"
#include "firmware-sdk/ei_device_memory.h"
#include "ei_fusion_sensors_config.h"

class EiDeviceNRF91 : public EiDeviceInfo {
private:
    EiDeviceNRF91() = delete;
    std::string mac_address = "00:11:22:33:44:55:66";
    EiState state;
    int standalone_sensor_num = 0;
    static const int standalone_sensor_num_max = 1;
    ei_device_sensor_t standalone_sensor_list[standalone_sensor_num_max];

public:
    std::string get_mac_address(void);

    EiDeviceNRF91(EiDeviceMemory* mem);
    ~EiDeviceNRF91();

    void (*sample_read_callback)(void);
    void init_device_id(void);
    bool start_sample_thread(void (*sample_read_cb)(void), float sample_interval_ms) override;
    bool stop_sample_thread(void) override;

    void set_state(EiState state) override;
    EiState get_state(void);

    const std::string& get_device_id(void) override;

    bool get_sensor_list(const ei_device_sensor_t **sensor_list, size_t *sensor_list_size) override;
    bool set_sensor_list(EiDeviceMemory* mem);
    uint32_t get_data_output_baudrate(void) override;

#if MULTI_FREQ_ENABLED == 1
    bool start_multi_sample_thread(void (*sample_multi_read_cb)(uint8_t), float* multi_sample_interval_ms, uint8_t num_fusioned) override;
    void (*sample_multi_read_callback)(uint8_t);
#endif
    void set_microphone_present(bool present);
};

#endif /* EI_DEVICE_NRF91_H */
```

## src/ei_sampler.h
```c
/*
 * Copyright (c) 2024 EdgeImpulse Inc.
 *
 * Licensed under the Apache License, Version 2.0 (the "License");
 * you may not use this file except in compliance with the License.
 * You may obtain a copy of the License at
 * http://www.apache.org/licenses/LICENSE-2.0
 *
 * Unless required by applicable law or agreed to in writing,
 * software distributed under the License is distributed on an "AS
 * IS" BASIS, WITHOUT WARRANTIES OR CONDITIONS OF ANY KIND, either
 * express or implied. See the License for the specific language
 * governing permissions and limitations under the License.
 *
 * SPDX-License-Identifier: Apache-2.0
 */

#ifndef _EI_SAMPLER_H
#define _EI_SAMPLER_H

#include "firmware-sdk/ei_config_types.h"

/* Function prototypes ----------------------------------------------------- */
bool ei_sampler_start_sampling(void *v_ptr_payload, starter_callback ei_sample_start, uint32_t sample_size);

#endif
```

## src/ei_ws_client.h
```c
/*
 * Copyright (c) 2024 EdgeImpulse Inc.
 *
 * Licensed under the Apache License, Version 2.0 (the "License");
 * you may not use this file except in compliance with the License.
 * You may obtain a copy of the License at
 * http://www.apache.org/licenses/LICENSE-2.0
 *
 * Unless required by applicable law or agreed to in writing,
 * software distributed under the License is distributed on an "AS
 * IS" BASIS, WITHOUT WARRANTIES OR CONDITIONS OF ANY KIND, either
 * express or implied. See the License for the specific language
 * governing permissions and limitations under the License.
 *
 * SPDX-License-Identifier: Apache-2.0
 */

#ifndef EI_WS_CLIENT_H
#define EI_WS_CLIENT_H

#ifdef __cplusplus
extern "C" {
#endif

#include "ei_device_info_lib.h"

typedef enum {
    HelloMsg,
    SampleStartMsg,
    SampleFailedMsg,
    SampleStartedMsg,
    SampleProcessingMsg,
    SampleUploadingMsg,
    SampleFinishedMsg,
    SnapshotFrameMsg,
} TxMsgType;

/**
 * @brief      Send a message to remote management servie
 * @param[in]  msg_type The message type
 * @param[in]  data     Optional additional data
 *                      For SampleFailedMsg, this is the error message
 *                      For SnapshotFrameMsg, this is the snapshot frame (base 64 encoded)
 * @return     True if message was sent successfully, false otherwise
*/
bool ei_ws_send_msg(TxMsgType msg_type, const char* data = nullptr);

/**
 * @brief      Start the websocket client thread
 * @param[in]  dev  Pointer to the device info object
 * @param[in]  handler  Callback function to call when a sample start message is received
*/
void ei_ws_client_start(EiDeviceInfo *dev, bool (*handler)(const char **, const int));

/**
 * @brief      Get connection status
 * @return     True if connected, false otherwise
*/
bool ei_ws_get_connection_status(void);

/**
 * @brief      Send a sample to remote management service from internal memory
 * @param[in]  address  Address of the sample in internal memory
 * @param[in]  length   Length of the sample
 * @return     True if sample was sent successfully, false otherwise
*/
bool ei_ws_send_sample(size_t address, size_t length);

#ifdef __cplusplus
};
#endif

#endif /* EI_WS_CLIENT_H */
```
